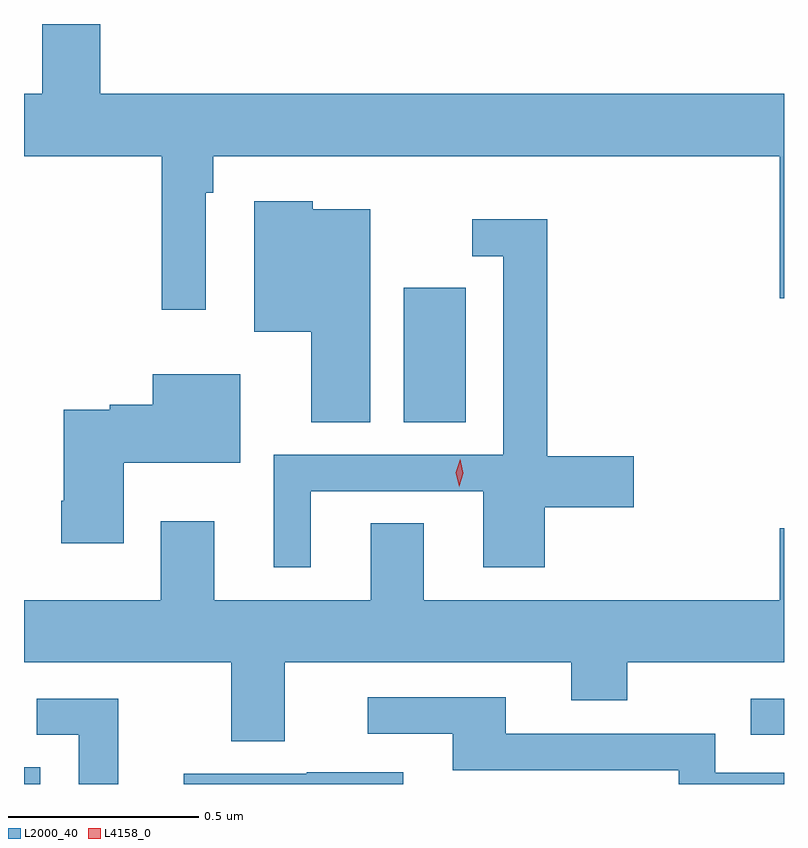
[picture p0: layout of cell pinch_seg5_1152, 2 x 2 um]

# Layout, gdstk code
import gdstk
lib = gdstk.Library(unit=1e-6, precision=1e-09)
def R(c, l, rs):  # rectangles x0, y0, x1, y1
    for r in rs: c.add(gdstk.rectangle(r[:2], r[2:], *l))
def P(c, l, *ps):  # polygons
    for p in ps: c.add(gdstk.Polygon(p, *l))
L2000_40 = (2000, 40)
L4158_0 = (4158, 0)

pinch_seg5_1152 = lib.new_cell('pinch_seg5_1152')
R(pinch_seg5_1152, L2000_40, [(798.383,843.12,798.426,843.164), (800.295,843.249,800.383,843.345), (799.382,844.072,799.546,844.426)])
P(pinch_seg5_1152, L2000_40, [(798.861,844.676),(798.881,844.676),(798.881,844.772),(800.372,844.772),(800.372,844.398),(800.383,844.398),(800.383,844.936),(798.584,844.936),(798.584,845.12),(798.431,845.12),(798.431,844.936),(798.383,844.936),(798.383,844.772),(798.745,844.772),(798.745,844.368),(798.861,844.368)],
  [(799.294,844.633),(799.143,844.633),(799.143,844.654),(798.989,844.654),(798.989,844.31),(799.139,844.31),(799.139,844.072),(799.294,844.072)],
  [(799.138,843.891),(799.592,843.891),(799.592,843.69),(799.754,843.69),(799.754,843.848),(799.987,843.848),(799.987,843.983),(799.76,843.983),(799.76,844.606),(799.563,844.606),(799.563,844.509),(799.644,844.509),(799.644,843.987),(799.04,843.987),(799.04,843.69),(799.138,843.69)],
  [(798.646,843.965),(798.952,843.965),(798.952,844.198),(798.722,844.198),(798.722,844.118),(798.609,844.118),(798.609,844.105),(798.488,844.105),(798.488,843.865),(798.481,843.865),(798.481,843.753),(798.646,843.753)],
  [(799.069,843.44),(799.823,843.44),(799.823,843.341),(799.971,843.341),(799.971,843.44),(800.383,843.44),(800.383,843.793),(800.372,843.793),(800.372,843.604),(799.435,843.604),(799.435,843.806),(799.295,843.806),(799.295,843.604),(798.883,843.604),(798.883,843.811),(798.743,843.811),(798.743,843.604),(798.383,843.604),(798.383,843.44),(798.929,843.44),(798.929,843.232),(799.069,843.232)],
  [(800.383,843.15),(800.202,843.15),(800.202,843.252),(799.651,843.252),(799.651,843.348),(799.287,843.348),(799.287,843.252),(799.511,843.252),(799.511,843.156),(800.106,843.156),(800.106,843.12),(800.383,843.12)],
  [(798.631,843.345),(798.417,843.345),(798.417,843.249),(798.527,843.249),(798.527,843.12),(798.631,843.12)],
  [(799.381,843.151),(799.127,843.151),(799.127,843.147),(798.803,843.147),(798.803,843.12),(799.381,843.12)])
P(pinch_seg5_1152, L4158_0, [(799.528,843.902),(799.528,843.903),(799.519,843.939),(799.531,843.974),(799.531,843.975),(799.531,843.974),(799.539,843.938),(799.528,843.903)])

lib.write_gds('pinch_seg5_1152.gds')
